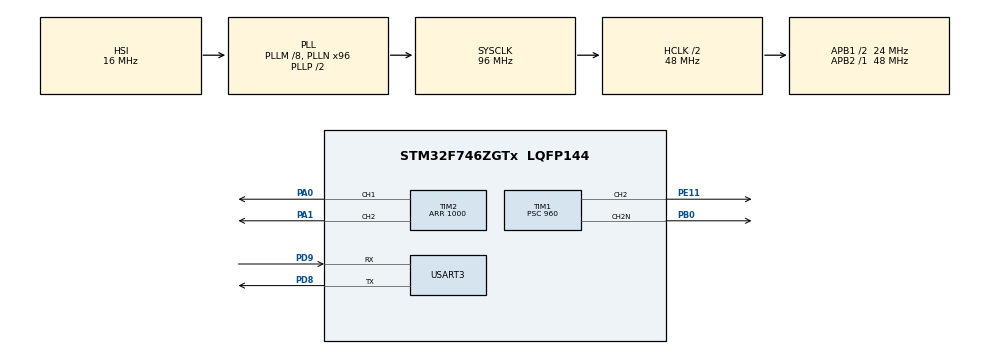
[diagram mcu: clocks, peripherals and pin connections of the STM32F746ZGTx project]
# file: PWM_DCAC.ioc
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Mcu.Family=STM32F7
Mcu.Name=STM32F746ZGTx
Mcu.Package=LQFP144
NVIC.PriorityGroup=NVIC_PRIORITYGROUP_4
NVIC.TIM6_DAC_IRQn=true\:0\:0\:false\:false\:true\:true\:true\:true
PA0/WKUP.Signal=S_TIM2_CH1_ETR
PA1.Signal=S_TIM2_CH2
PB0.Mode=PWM Generation2 CH2 CH2N
PB0.Signal=TIM1_CH2N
PD8.GPIO_PuPd=GPIO_PULLUP
PD8.Mode=Asynchronous
PD8.Signal=USART3_TX
PD9.GPIO_PuPd=GPIO_PULLUP
PD9.Mode=Asynchronous
PD9.Signal=USART3_RX
PE11.Signal=S_TIM1_CH2
ProjectManager.HeapSize=0x200
ProjectManager.StackSize=0x400
ProjectManager.TargetToolchain=STM32CubeIDE
RCC.48MHZClocksFreq_Value=24000000
RCC.AHBCLKDivider=RCC_SYSCLK_DIV2
RCC.AHBFreq_Value=48000000
RCC.APB1CLKDivider=RCC_HCLK_DIV2
RCC.APB1Freq_Value=24000000
RCC.APB1TimFreq_Value=48000000
RCC.APB2Freq_Value=48000000
RCC.APB2TimFreq_Value=48000000
RCC.CortexFreq_Value=48000000
RCC.HCLKFreq_Value=48000000
RCC.HSE_VALUE=8000000
RCC.HSI_VALUE=16000000
RCC.LSE_VALUE=32768
RCC.PLLM=8
RCC.PLLMUL=RCC_PLL_MUL9
RCC.PLLN=96
RCC.PLLQ=3
RCC.PRESCALERUSB=RCC_USBCLKSOURCE_PLL_DIV1_5
RCC.SYSCLKFreq_VALUE=96000000
RCC.SYSCLKSource=RCC_SYSCLKSOURCE_PLLCLK
RCC.SYSCLKSourceVirtual=RCC_SYSCLKSOURCE_PLLCLK
RCC.USBFreq_Value=64000000
RCC.VCOOutputFreq_Value=192000000
SH.S_TIM1_CH2.0=TIM1_CH2,PWM Generation2 CH2 CH2N
SH.S_TIM2_CH1_ETR.0=TIM2_CH1,PWM Generation1 CH1
SH.S_TIM2_CH2.0=TIM2_CH2,PWM Generation2 CH2
TIM1.Channel-PWM\ Generation2\ CH2\ CH2N=TIM_CHANNEL_2
TIM1.DeadTime=50
TIM1.Period=1000
TIM1.Prescaler=960
TIM2.Channel-PWM\ Generation1\ CH1=TIM_CHANNEL_1
TIM2.Channel-PWM\ Generation2\ CH2=TIM_CHANNEL_2
TIM2.Period=1000
TIM2.Pulse-PWM\ Generation1\ CH1=500
TIM6.Period=1000
USART3.VirtualMode-Asynchronous=VM_ASYNC
VP_TIM1_VS_ClockSourceINT.Mode=Internal
VP_TIM2_VS_ClockSourceINT.Mode=Internal
VP_TIM6_VS_ClockSourceINT.Mode=Enable_Timer
board=NUCLEO-F746ZG

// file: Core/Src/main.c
/* USER CODE BEGIN Header */
/**
  ******************************************************************************
  * @file           : main.c
  * @brief          : Main program body
  ******************************************************************************
  * @attention
  *
  * Copyright (c) 2024 STMicroelectronics.
  * All rights reserved.
  *
  * This software is licensed under terms that can be found in the LICENSE file
  * in the root directory of this software component.
  * If no LICENSE file comes with this software, it is provided AS-IS.
  *
  ******************************************************************************
  */
/* USER CODE END Header */
#include "main.h"

/* USER CODE BEGIN Includes */
#include "stdio.h"
/* USER CODE END Includes */

/* USER CODE BEGIN PM */
#define V_IN 3.3  // Input voltage 3.3V
#define TIMER_CLOCK_FREQ 80000000  // 80 MHz for STM32
/* USER CODE END PM */

TIM_HandleTypeDef htim1;
TIM_HandleTypeDef htim2;
TIM_HandleTypeDef htim6;

UART_HandleTypeDef huart3;

/* USER CODE BEGIN PV */
#ifdef __GNUC__
#define PUTCHAR_PROTOTYPE int __io_putchar(int ch)
#else
#define PUTCHAR_PROTOTYPE int fputc(int ch, FILE *f)
#endif /* __GNUC__ */
PUTCHAR_PROTOTYPE
{
	HAL_UART_Transmit(&huart3, (uint8_t *)&ch, 1, HAL_MAX_DELAY);
	return ch;
}

/* USER CODE END PV */

void SystemClock_Config(void);
static void MX_GPIO_Init(void);
static void MX_TIM1_Init(void);
static void MX_TIM2_Init(void);
static void MX_TIM6_Init(void);
static void MX_USART3_UART_Init(void);

/* USER CODE BEGIN 0 */
// Function to calculate the average voltage (DC)
float calculate_dc_voltage(uint32_t pulse, uint32_t period) {
    return V_IN * ((float)pulse / (float)period);
}

// Function to calculate the signal frequency
float calculate_frequency(uint32_t prescaler, uint32_t period) {
    return (float)TIMER_CLOCK_FREQ / ((prescaler + 1) * (period + 1));
}
/* USER CODE END 0 */

int main(void)
{

  /* MCU Configuration--------------------------------------------------------*/

  /* Reset of all peripherals, Initializes the Flash interface and the Systick. */
  HAL_Init();

  /* Configure the system clock */
  SystemClock_Config();

  /* Initialize all configured peripherals */
  MX_GPIO_Init();
  MX_TIM1_Init();
  MX_TIM2_Init();
  MX_TIM6_Init();
  MX_USART3_UART_Init();
  /* USER CODE BEGIN 2 */
  /* Start PWM Generation */
  HAL_TIMEx_PWMN_Start(&htim1, TIM_CHANNEL_2);
  HAL_TIM_PWM_Start(&htim1, TIM_CHANNEL_2);

  HAL_TIM_PWM_Start(&htim2, TIM_CHANNEL_1);
  HAL_TIM_PWM_Start(&htim2, TIM_CHANNEL_2);

  /* CMSIS libraries */
  TIM6->DIER |= TIM_DIER_UIE;
  TIM6->CR1  |= TIM_CR1_CEN;

  /* USER CODE END 2 */

  /* Infinite loop */
  /* USER CODE BEGIN WHILE */
  /* Calculate and print results */
      uint32_t pulse_ch1 = htim2.Instance->CCR1;  // Pulse value for TIM2_CH1
      uint32_t pulse_ch2 = htim2.Instance->CCR2;  // Pulse value for TIM2_CH2
      uint32_t period = htim2.Init.Period;        // Period value (ARR)
      uint32_t prescaler = htim2.Init.Prescaler;  // Prescaler value (PSC)

      float voltage_ch1 = calculate_dc_voltage(pulse_ch1, period);
      float voltage_ch2 = calculate_dc_voltage(pulse_ch2, period);
      float frequency = calculate_frequency(prescaler, period);

      puts("-------------------------\r");
      printf("DC Voltage CH1: %.2f V\r\n", voltage_ch1);
      printf("DC Voltage CH2: %.2f V\r\n", voltage_ch2);
      printf("Frequency: %.5f kHz\r\n", frequency / 1000.0);
      puts("");
      printf("timer6 TIM6->DIER: %ld\r\n", TIM6->DIER);
      printf("timer6 TIM6->CR1: %ld\r\n", TIM6->CR1);

  while (1)
  {

//      printf("DC Voltage CH1: %.2fv\r\n", voltage_ch1);
//      printf("DC Voltage CH2: %.2fv\r\n", voltage_ch2);
//      printf("Frequency: %.5fkHz\r\n", frequency / 1000.0);
//      HAL_Delay(1000);
    /* USER CODE END WHILE */

  }
}

void SystemClock_Config(void)
{
  RCC_OscInitTypeDef RCC_OscInitStruct = {0};
  RCC_ClkInitTypeDef RCC_ClkInitStruct = {0};

  /** Configure the main internal regulator output voltage
  */
  __HAL_RCC_PWR_CLK_ENABLE();
  __HAL_PWR_VOLTAGESCALING_CONFIG(PWR_REGULATOR_VOLTAGE_SCALE3);

  /** Initializes the RCC Oscillators according to the specified parameters
  * in the RCC_OscInitTypeDef structure.
  */
  RCC_OscInitStruct.OscillatorType = RCC_OSCILLATORTYPE_HSI;
  RCC_OscInitStruct.HSIState = RCC_HSI_ON;
  RCC_OscInitStruct.HSICalibrationValue = RCC_HSICALIBRATION_DEFAULT;
  RCC_OscInitStruct.PLL.PLLState = RCC_PLL_ON;
  RCC_OscInitStruct.PLL.PLLSource = RCC_PLLSOURCE_HSI;
  RCC_OscInitStruct.PLL.PLLM = 8;
  RCC_OscInitStruct.PLL.PLLN = 96;
  RCC_OscInitStruct.PLL.PLLP = RCC_PLLP_DIV2;
  RCC_OscInitStruct.PLL.PLLQ = 3;
  if (HAL_RCC_OscConfig(&RCC_OscInitStruct) != HAL_OK)
  {
    Error_Handler();
  }

  /** Initializes the CPU, AHB and APB buses clocks
  */
  RCC_ClkInitStruct.ClockType = RCC_CLOCKTYPE_HCLK|RCC_CLOCKTYPE_SYSCLK
                              |RCC_CLOCKTYPE_PCLK1|RCC_CLOCKTYPE_PCLK2;
  RCC_ClkInitStruct.SYSCLKSource = RCC_SYSCLKSOURCE_PLLCLK;
  RCC_ClkInitStruct.AHBCLKDivider = RCC_SYSCLK_DIV2;
  RCC_ClkInitStruct.APB1CLKDivider = RCC_HCLK_DIV2;
  RCC_ClkInitStruct.APB2CLKDivider = RCC_HCLK_DIV1;

  if (HAL_RCC_ClockConfig(&RCC_ClkInitStruct, FLASH_LATENCY_1) != HAL_OK)
  {
    Error_Handler();
  }
}

static void MX_TIM1_Init(void)
{

  TIM_ClockConfigTypeDef sClockSourceConfig = {0};
  TIM_MasterConfigTypeDef sMasterConfig = {0};
  TIM_OC_InitTypeDef sConfigOC = {0};
  TIM_BreakDeadTimeConfigTypeDef sBreakDeadTimeConfig = {0};

  htim1.Instance = TIM1;
  htim1.Init.Prescaler = 960 - 1;
  htim1.Init.CounterMode = TIM_COUNTERMODE_UP;
  htim1.Init.Period = 1000;
  htim1.Init.ClockDivision = TIM_CLOCKDIVISION_DIV1;
  htim1.Init.RepetitionCounter = 0;
  htim1.Init.AutoReloadPreload = TIM_AUTORELOAD_PRELOAD_DISABLE;
  if (HAL_TIM_Base_Init(&htim1) != HAL_OK)
  {
    Error_Handler();
  }
  sClockSourceConfig.ClockSource = TIM_CLOCKSOURCE_INTERNAL;
  if (HAL_TIM_ConfigClockSource(&htim1, &sClockSourceConfig) != HAL_OK)
  {
    Error_Handler();
  }
  if (HAL_TIM_PWM_Init(&htim1) != HAL_OK)
  {
    Error_Handler();
  }
  sMasterConfig.MasterOutputTrigger = TIM_TRGO_RESET;
  sMasterConfig.MasterOutputTrigger2 = TIM_TRGO2_RESET;
  sMasterConfig.MasterSlaveMode = TIM_MASTERSLAVEMODE_DISABLE;
  if (HAL_TIMEx_MasterConfigSynchronization(&htim1, &sMasterConfig) != HAL_OK)
  {
    Error_Handler();
  }
  sConfigOC.OCMode = TIM_OCMODE_PWM1;
  sConfigOC.Pulse = 0;
  sConfigOC.OCPolarity = TIM_OCPOLARITY_HIGH;
  sConfigOC.OCNPolarity = TIM_OCNPOLARITY_HIGH;
  sConfigOC.OCFastMode = TIM_OCFAST_DISABLE;
  sConfigOC.OCIdleState = TIM_OCIDLESTATE_RESET;
  sConfigOC.OCNIdleState = TIM_OCNIDLESTATE_RESET;
  if (HAL_TIM_PWM_ConfigChannel(&htim1, &sConfigOC, TIM_CHANNEL_2) != HAL_OK)
  {
    Error_Handler();
  }
  sBreakDeadTimeConfig.OffStateRunMode = TIM_OSSR_DISABLE;
  sBreakDeadTimeConfig.OffStateIDLEMode = TIM_OSSI_DISABLE;
  sBreakDeadTimeConfig.LockLevel = TIM_LOCKLEVEL_OFF;
  sBreakDeadTimeConfig.DeadTime = 50;
  sBreakDeadTimeConfig.BreakState = TIM_BREAK_DISABLE;
  sBreakDeadTimeConfig.BreakPolarity = TIM_BREAKPOLARITY_HIGH;
  sBreakDeadTimeConfig.BreakFilter = 0;
  sBreakDeadTimeConfig.Break2State = TIM_BREAK2_DISABLE;
  sBreakDeadTimeConfig.Break2Polarity = TIM_BREAK2POLARITY_HIGH;
  sBreakDeadTimeConfig.Break2Filter = 0;
  sBreakDeadTimeConfig.AutomaticOutput = TIM_AUTOMATICOUTPUT_DISABLE;
  if (HAL_TIMEx_ConfigBreakDeadTime(&htim1, &sBreakDeadTimeConfig) != HAL_OK)
  {
    Error_Handler();
  }
  HAL_TIM_MspPostInit(&htim1);

}

static void MX_TIM2_Init(void)
{

  TIM_ClockConfigTypeDef sClockSourceConfig = {0};
  TIM_MasterConfigTypeDef sMasterConfig = {0};
  TIM_OC_InitTypeDef sConfigOC = {0};

  htim2.Instance = TIM2;
  htim2.Init.Prescaler = 0;
  htim2.Init.CounterMode = TIM_COUNTERMODE_UP;
  htim2.Init.Period = 1000;
  htim2.Init.ClockDivision = TIM_CLOCKDIVISION_DIV1;
  htim2.Init.AutoReloadPreload = TIM_AUTORELOAD_PRELOAD_DISABLE;
  if (HAL_TIM_Base_Init(&htim2) != HAL_OK)
  {
    Error_Handler();
  }
  sClockSourceConfig.ClockSource = TIM_CLOCKSOURCE_INTERNAL;
  if (HAL_TIM_ConfigClockSource(&htim2, &sClockSourceConfig) != HAL_OK)
  {
    Error_Handler();
  }
  if (HAL_TIM_PWM_Init(&htim2) != HAL_OK)
  {
    Error_Handler();
  }
  sMasterConfig.MasterOutputTrigger = TIM_TRGO_RESET;
  sMasterConfig.MasterSlaveMode = TIM_MASTERSLAVEMODE_DISABLE;
  if (HAL_TIMEx_MasterConfigSynchronization(&htim2, &sMasterConfig) != HAL_OK)
  {
    Error_Handler();
  }
  sConfigOC.OCMode = TIM_OCMODE_PWM1;
  sConfigOC.Pulse = 500;
  sConfigOC.OCPolarity = TIM_OCPOLARITY_HIGH;
  sConfigOC.OCFastMode = TIM_OCFAST_DISABLE;
  if (HAL_TIM_PWM_ConfigChannel(&htim2, &sConfigOC, TIM_CHANNEL_1) != HAL_OK)
  {
    Error_Handler();
  }
  sConfigOC.Pulse = 0;
  if (HAL_TIM_PWM_ConfigChannel(&htim2, &sConfigOC, TIM_CHANNEL_2) != HAL_OK)
  {
    Error_Handler();
  }
  HAL_TIM_MspPostInit(&htim2);

}

static void MX_TIM6_Init(void)
{

  TIM_MasterConfigTypeDef sMasterConfig = {0};

  htim6.Instance = TIM6;
  htim6.Init.Prescaler = 0;
  htim6.Init.CounterMode = TIM_COUNTERMODE_UP;
  htim6.Init.Period = 1000;
  htim6.Init.AutoReloadPreload = TIM_AUTORELOAD_PRELOAD_DISABLE;
  if (HAL_TIM_Base_Init(&htim6) != HAL_OK)
  {
    Error_Handler();
  }
  sMasterConfig.MasterOutputTrigger = TIM_TRGO_RESET;
  sMasterConfig.MasterSlaveMode = TIM_MASTERSLAVEMODE_DISABLE;
  if (HAL_TIMEx_MasterConfigSynchronization(&htim6, &sMasterConfig) != HAL_OK)
  {
    Error_Handler();
  }

}

static void MX_USART3_UART_Init(void)
{

  huart3.Instance = USART3;
  huart3.Init.BaudRate = 115200;
  huart3.Init.WordLength = UART_WORDLENGTH_8B;
  huart3.Init.StopBits = UART_STOPBITS_1;
  huart3.Init.Parity = UART_PARITY_NONE;
  huart3.Init.Mode = UART_MODE_TX_RX;
  huart3.Init.HwFlowCtl = UART_HWCONTROL_NONE;
  huart3.Init.OverSampling = UART_OVERSAMPLING_16;
  huart3.Init.OneBitSampling = UART_ONE_BIT_SAMPLE_DISABLE;
  huart3.AdvancedInit.AdvFeatureInit = UART_ADVFEATURE_NO_INIT;
  if (HAL_UART_Init(&huart3) != HAL_OK)
  {
    Error_Handler();
  }

}

static void MX_GPIO_Init(void)
{

  /* GPIO Ports Clock Enable */
  __HAL_RCC_GPIOA_CLK_ENABLE();
  __HAL_RCC_GPIOB_CLK_ENABLE();
  __HAL_RCC_GPIOE_CLK_ENABLE();
  __HAL_RCC_GPIOD_CLK_ENABLE();

}

void Error_Handler(void)
{
  __disable_irq();
  while (1)
  {
  }
}
